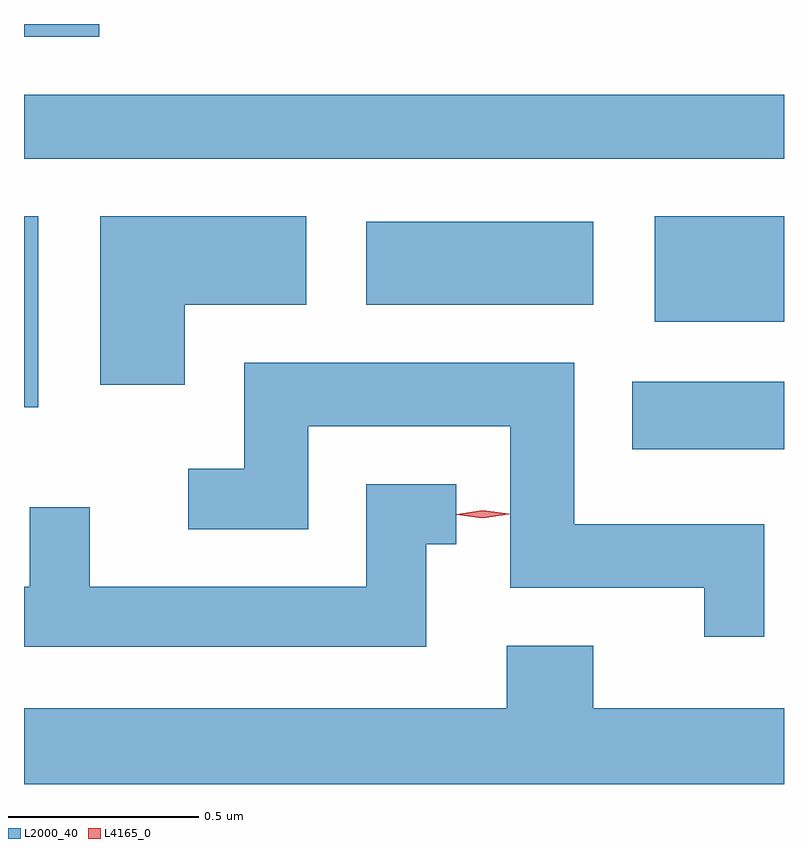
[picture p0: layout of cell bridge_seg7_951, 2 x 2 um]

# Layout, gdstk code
import gdstk
lib = gdstk.Library(unit=1e-6, precision=1e-09)
def R(c, l, rs):  # rectangles x0, y0, x1, y1
    for r in rs: c.add(gdstk.rectangle(r[:2], r[2:], *l))
def P(c, l, *ps):  # polygons
    for p in ps: c.add(gdstk.Polygon(p, *l))
L2000_40 = (2000, 40)
L4165_0 = (4165, 0)

bridge_seg7_951 = lib.new_cell('bridge_seg7_951')
R(bridge_seg7_951, L2000_40, [(552.341,1737.466,552.741,1737.644), (550.741,1737.576,550.779,1738.079), (552.401,1737.801,552.741,1738.079), (551.641,1737.846,552.239,1738.064), (550.741,1738.231,552.741,1738.399), (550.741,1738.551,550.939,1738.585)])
P(bridge_seg7_951, L2000_40, [(551.164,1737.846),(551.484,1737.846),(551.484,1738.079),(550.941,1738.079),(550.941,1737.636),(551.164,1737.636)],
  [(552.689,1737.269),(552.189,1737.269),(552.189,1737.694),(551.321,1737.694),(551.321,1737.414),(551.173,1737.414),(551.173,1737.256),(551.489,1737.256),(551.489,1737.526),(552.021,1737.526),(552.021,1737.101),(552.531,1737.101),(552.531,1736.973),(552.689,1736.973)],
  [(551.799,1737.216),(551.878,1737.216),(551.878,1737.374),(551.641,1737.374),(551.641,1737.104),(550.914,1737.104),(550.914,1737.313),(550.756,1737.313),(550.756,1737.104),(550.741,1737.104),(550.741,1736.946),(551.799,1736.946)],
  [(552.741,1736.784),(552.239,1736.784),(552.239,1736.949),(552.011,1736.949),(552.011,1736.784),(550.741,1736.784),(550.741,1736.585),(552.741,1736.585)])
P(bridge_seg7_951, L4165_0, [(551.948,1737.285),(551.879,1737.294),(551.879,1737.295),(551.879,1737.295),(551.948,1737.305),(552.018,1737.296),(552.018,1737.296),(552.018,1737.295)])

lib.write_gds('bridge_seg7_951.gds')
